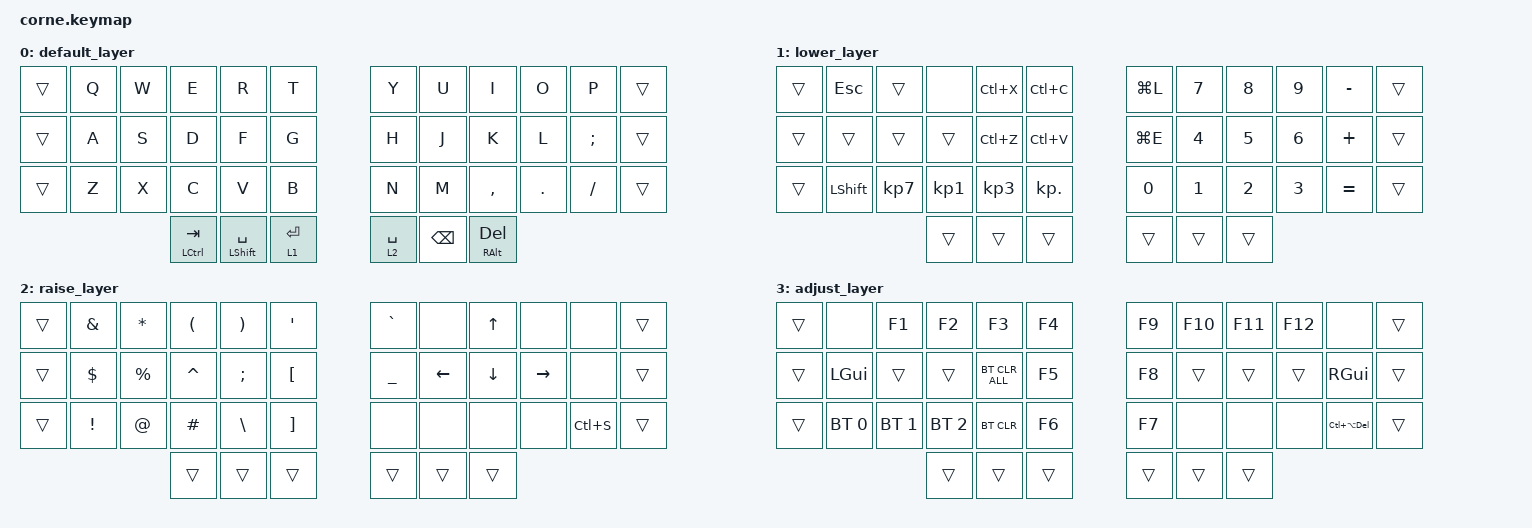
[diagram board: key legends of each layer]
/*
 * Copyright (c) 2020 The ZMK Contributors
 *
 * SPDX-License-Identifier: MIT
 */

#include <behaviors.dtsi>
#include <dt-bindings/zmk/bt.h>
#include <dt-bindings/zmk/keys.h>

&mt { tapping-term-ms = <200>; };

// kan deze weg?      };

/ {

combos {
    compatible = "zmk,combos";

    leftPare {
        bindings = <&kp LEFT_SHIFT>;
        key-positions = <16 15>;
        layers = <0>;
    };

    rightPare {
        bindings = <&kp RIGHT_SHIFT>;
        key-positions = <19 20>;
        layers = <0>;
    };
};

    keymap {
        compatible = "zmk,keymap";

        // --------------------------------------------------------------
        // https://keymap-drawer.streamlit.app/ om een plaatje te hebben.
        // --------------------------------------------------------------

        default_layer {
            bindings = <
&trans  &kp Q  &kp W  &kp E          &kp R                 &kp T        &kp Y        &kp U          &kp I              &kp O       &kp P     &trans
&trans  &kp A  &kp S  &kp D          &kp F                 &kp G        &kp H        &kp J          &kp K              &kp L       &kp SEMI  &trans
&trans  &kp Z  &kp X  &kp C          &kp V                 &kp B        &kp N        &kp M          &kp COMMA          &kp PERIOD  &kp FSLH  &trans
                      &mt LCTRL TAB  &mt LEFT_SHIFT SPACE  &lt 1 RET    &lt 2 SPACE  &kp BACKSPACE  &mt RIGHT_ALT DEL
            >;
        };

        lower_layer {
            bindings = <
&trans  &kp ESC     &trans     &none      &kp LC(X)  &kp LC(C)     &kp LG(L)  &kp N7  &kp N8  &kp N9  &kp MINUS  &trans
&trans  &trans      &trans     &trans     &kp LC(Z)  &kp LC(V)     &kp LG(E)  &kp N4  &kp N5  &kp N6  &kp PLUS   &trans
&trans  &kp LSHIFT  &kp KP_N7  &kp KP_N1  &kp KP_N3  &kp KP_DOT    &kp N0     &kp N1  &kp N2  &kp N3  &kp EQUAL  &trans
                               &trans     &trans     &trans        &trans     &trans  &trans
            >;
        };

        raise_layer {
            bindings = <
&trans  &kp AMPS  &kp ASTRK  &kp LPAR   &kp RPAR  &kp APOS    &kp GRAVE  &none     &kp UP    &none      &none      &trans
&trans  &kp DLLR  &kp PRCNT  &kp CARET  &kp SEMI  &kp LBKT    &kp UNDER  &kp LEFT  &kp DOWN  &kp RIGHT  &none      &trans
&trans  &kp EXCL  &kp AT     &kp HASH   &kp BSLH  &kp RBKT    &none      &none     &none     &none      &kp LC(S)  &trans
                             &trans     &trans    &trans      &trans     &trans    &trans
            >;
        };

        adjust_layer {
            bindings = <
&trans  &none         &kp F1        &kp F2        &kp F3          &kp F4    &kp F9  &kp F10  &kp F11  &kp F12  &none            &trans
&trans  &kp LGUI      &trans        &trans        &bt BT_CLR_ALL  &kp F5    &kp F8  &trans   &trans   &trans   &kp RGUI         &trans
&trans  &bt BT_SEL 0  &bt BT_SEL 1  &bt BT_SEL 2  &bt BT_CLR      &kp F6    &kp F7  &none    &none    &none    &kp LC(LA(DEL))  &trans
                                    &trans        &trans          &trans    &trans  &trans   &trans
            >;
        };
    };

conditional_layers {
    compatible = "zmk,conditional-layers";

    derdeLaag {
        if-layers = <1 2>;
        then-layer = <3>;
    };
};

};

// Dit is een fix van https://www.reddit.com/r/ErgoMechKeyboards/comments/yisksy/comment/j4qu9h0/
// en is alleen voor de miniCorne
//&nice_view_spi { cs-gpios = <&pro_micro 0 GPIO_ACTIVE_HIGH>; };
